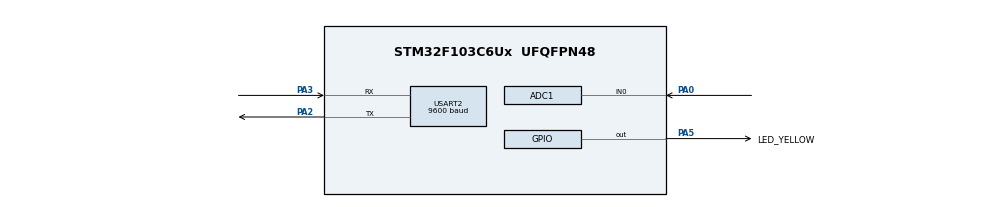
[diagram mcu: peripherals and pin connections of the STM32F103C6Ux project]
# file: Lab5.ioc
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ADC1.Channel-0\#ChannelRegularConversion=ADC_CHANNEL_0
ADC1.ContinuousConvMode=ENABLE
ADC1.NbrOfConversionFlag=1
ADC1.Rank-0\#ChannelRegularConversion=1
ADC1.SamplingTime-0\#ChannelRegularConversion=ADC_SAMPLETIME_1CYCLE_5
ADC1.master=1
Mcu.Family=STM32F1
Mcu.Name=STM32F103C6Ux
Mcu.Package=UFQFPN48
NVIC.PriorityGroup=NVIC_PRIORITYGROUP_4
NVIC.TIM2_IRQn=true\:0\:0\:false\:false\:true\:true\:true
NVIC.USART2_IRQn=true\:0\:0\:false\:false\:true\:true\:true
PA0-WKUP.Signal=ADCx_IN0
PA2.Mode=Asynchronous
PA2.Signal=USART2_TX
PA3.Mode=Asynchronous
PA3.Signal=USART2_RX
PA5.GPIO_Label=LED_YELLOW
PA5.Signal=GPIO_Output
ProjectManager.HeapSize=0x200
ProjectManager.StackSize=0x400
ProjectManager.TargetToolchain=STM32CubeIDE
RCC.APB1Freq_Value=8000000
RCC.APB2Freq_Value=8000000
SH.ADCx_IN0.0=ADC1_IN0,IN0
TIM2.Period=9
TIM2.Prescaler=7999
USART2.BaudRate=9600
USART2.VirtualMode=VM_ASYNC
VP_SYS_VS_ND.Mode=No_Debug
VP_TIM2_VS_ClockSourceINT.Mode=Internal
board=custom

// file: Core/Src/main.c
/* USER CODE BEGIN Header */
/**
  ******************************************************************************
  * @file           : main.c
  * @brief          : Main program body
  ******************************************************************************
  * @attention
  *
  * <h2><center>&copy; Copyright (c) 2026 STMicroelectronics.
  * All rights reserved.</center></h2>
  *
  * This software component is licensed by ST under BSD 3-Clause license,
  * the "License"; You may not use this file except in compliance with the
  * License. You may obtain a copy of the License at:
  *                        opensource.org/licenses/BSD-3-Clause
  *
  ******************************************************************************
  */
/* USER CODE END Header */
#include "main.h"

/* USER CODE BEGIN Includes */
#include "software_timer.h"
#include "command_parser.h"
#include "uart_communication.h"
/* USER CODE END Includes */

ADC_HandleTypeDef hadc1;

TIM_HandleTypeDef htim2;

UART_HandleTypeDef huart2;

void SystemClock_Config(void);
static void MX_GPIO_Init(void);
static void MX_ADC1_Init(void);
static void MX_TIM2_Init(void);
static void MX_USART2_UART_Init(void);

int main(void)
{

  /* MCU Configuration--------------------------------------------------------*/

  /* Reset of all peripherals, Initializes the Flash interface and the Systick. */
  HAL_Init();

  /* Configure the system clock */
  SystemClock_Config();

  /* Initialize all configured peripherals */
  MX_GPIO_Init();
  MX_ADC1_Init();
  MX_TIM2_Init();
  MX_USART2_UART_Init();
  /* USER CODE BEGIN 2 */
  HAL_TIM_Base_Start_IT(&htim2);
  HAL_UART_Receive_IT(&huart2, &temp, 1);
  setTimer(1, 500);
  /* USER CODE END 2 */

  /* Infinite loop */
  while (1)
  {

    /* USER CODE BEGIN 3 */
    // Moi 1 ms (nhanh hon 1 byte 9600 baud = 1.04 ms) kiem tra cuu byte RX neu ngat Proteus nghen
    {
        static uint32_t last_rx_tick = 0;
        uint32_t now = HAL_GetTick();
        if (now != last_rx_tick) {
            last_rx_tick = now;
            uart_rx_poll_rescue();
        }
    }
    if (buffer_flag == 1) {
        buffer_flag = 0;
        command_parser_fsm();
    }
    uart_communication_fsm(&hadc1, &huart2);

    if (isTimerExpired(1)) {
        HAL_GPIO_TogglePin(LED_YELLOW_GPIO_Port, LED_YELLOW_Pin);
        setTimer(1, 500);
    }
  }
  /* USER CODE END 3 */
}

void SystemClock_Config(void)
{
  RCC_OscInitTypeDef RCC_OscInitStruct = {0};
  RCC_ClkInitTypeDef RCC_ClkInitStruct = {0};
  RCC_PeriphCLKInitTypeDef PeriphClkInit = {0};

  /** Initializes the RCC Oscillators according to the specified parameters
  * in the RCC_OscInitTypeDef structure.
  */
  RCC_OscInitStruct.OscillatorType = RCC_OSCILLATORTYPE_HSI;
  RCC_OscInitStruct.HSIState = RCC_HSI_ON;
  RCC_OscInitStruct.HSICalibrationValue = RCC_HSICALIBRATION_DEFAULT;
  RCC_OscInitStruct.PLL.PLLState = RCC_PLL_NONE;
  if (HAL_RCC_OscConfig(&RCC_OscInitStruct) != HAL_OK)
  {
    Error_Handler();
  }
  /** Initializes the CPU, AHB and APB buses clocks
  */
  RCC_ClkInitStruct.ClockType = RCC_CLOCKTYPE_HCLK|RCC_CLOCKTYPE_SYSCLK
                              |RCC_CLOCKTYPE_PCLK1|RCC_CLOCKTYPE_PCLK2;
  RCC_ClkInitStruct.SYSCLKSource = RCC_SYSCLKSOURCE_HSI;
  RCC_ClkInitStruct.AHBCLKDivider = RCC_SYSCLK_DIV1;
  RCC_ClkInitStruct.APB1CLKDivider = RCC_HCLK_DIV1;
  RCC_ClkInitStruct.APB2CLKDivider = RCC_HCLK_DIV1;

  if (HAL_RCC_ClockConfig(&RCC_ClkInitStruct, FLASH_LATENCY_0) != HAL_OK)
  {
    Error_Handler();
  }
  PeriphClkInit.PeriphClockSelection = RCC_PERIPHCLK_ADC;
  PeriphClkInit.AdcClockSelection = RCC_ADCPCLK2_DIV2;
  if (HAL_RCCEx_PeriphCLKConfig(&PeriphClkInit) != HAL_OK)
  {
    Error_Handler();
  }
}

static void MX_ADC1_Init(void)
{

  ADC_ChannelConfTypeDef sConfig = {0};

  /** Common config
  */
  hadc1.Instance = ADC1;
  hadc1.Init.ScanConvMode = ADC_SCAN_DISABLE;
  hadc1.Init.ContinuousConvMode = ENABLE;
  hadc1.Init.DiscontinuousConvMode = DISABLE;
  hadc1.Init.ExternalTrigConv = ADC_SOFTWARE_START;
  hadc1.Init.DataAlign = ADC_DATAALIGN_RIGHT;
  hadc1.Init.NbrOfConversion = 1;
  if (HAL_ADC_Init(&hadc1) != HAL_OK)
  {
    Error_Handler();
  }
  /** Configure Regular Channel
  */
  sConfig.Channel = ADC_CHANNEL_0;
  sConfig.Rank = ADC_REGULAR_RANK_1;
  sConfig.SamplingTime = ADC_SAMPLETIME_1CYCLE_5;
  if (HAL_ADC_ConfigChannel(&hadc1, &sConfig) != HAL_OK)
  {
    Error_Handler();
  }

}

static void MX_TIM2_Init(void)
{

  TIM_ClockConfigTypeDef sClockSourceConfig = {0};
  TIM_MasterConfigTypeDef sMasterConfig = {0};

  htim2.Instance = TIM2;
  htim2.Init.Prescaler = 7999;
  htim2.Init.CounterMode = TIM_COUNTERMODE_UP;
  htim2.Init.Period = 9;
  htim2.Init.ClockDivision = TIM_CLOCKDIVISION_DIV1;
  htim2.Init.AutoReloadPreload = TIM_AUTORELOAD_PRELOAD_DISABLE;
  if (HAL_TIM_Base_Init(&htim2) != HAL_OK)
  {
    Error_Handler();
  }
  sClockSourceConfig.ClockSource = TIM_CLOCKSOURCE_INTERNAL;
  if (HAL_TIM_ConfigClockSource(&htim2, &sClockSourceConfig) != HAL_OK)
  {
    Error_Handler();
  }
  sMasterConfig.MasterOutputTrigger = TIM_TRGO_RESET;
  sMasterConfig.MasterSlaveMode = TIM_MASTERSLAVEMODE_DISABLE;
  if (HAL_TIMEx_MasterConfigSynchronization(&htim2, &sMasterConfig) != HAL_OK)
  {
    Error_Handler();
  }

}

static void MX_USART2_UART_Init(void)
{

  huart2.Instance = USART2;
  huart2.Init.BaudRate = 9600;
  huart2.Init.WordLength = UART_WORDLENGTH_8B;
  huart2.Init.StopBits = UART_STOPBITS_1;
  huart2.Init.Parity = UART_PARITY_NONE;
  huart2.Init.Mode = UART_MODE_TX_RX;
  huart2.Init.HwFlowCtl = UART_HWCONTROL_NONE;
  huart2.Init.OverSampling = UART_OVERSAMPLING_16;
  if (HAL_UART_Init(&huart2) != HAL_OK)
  {
    Error_Handler();
  }

}

static void MX_GPIO_Init(void)
{
  GPIO_InitTypeDef GPIO_InitStruct = {0};

  /* GPIO Ports Clock Enable */
  __HAL_RCC_GPIOA_CLK_ENABLE();

  /*Configure GPIO pin Output Level */
  HAL_GPIO_WritePin(LED_YELLOW_GPIO_Port, LED_YELLOW_Pin, GPIO_PIN_RESET);

  /*Configure GPIO pin : LED_YELLOW_Pin */
  GPIO_InitStruct.Pin = LED_YELLOW_Pin;
  GPIO_InitStruct.Mode = GPIO_MODE_OUTPUT_PP;
  GPIO_InitStruct.Pull = GPIO_NOPULL;
  GPIO_InitStruct.Speed = GPIO_SPEED_FREQ_LOW;
  HAL_GPIO_Init(LED_YELLOW_GPIO_Port, &GPIO_InitStruct);

}

/* USER CODE BEGIN 4 */
void uart_rx_poll_rescue(void) {
    uint32_t primask = __get_PRIMASK();
    __disable_irq();
    uint32_t sr = USART2->SR;
    if (sr & (USART_SR_RXNE | USART_SR_ORE | USART_SR_FE | USART_SR_NE | USART_SR_PE)) {
        uint8_t rx_byte = (uint8_t)(USART2->DR & 0xFFU);
        if (sr & USART_SR_RXNE) {
            buffer[index_buffer++] = rx_byte;
            if (index_buffer >= MAX_BUFFER_SIZE) {
                index_buffer = 0;
            }
            buffer_flag = 1;
        }
        huart2.RxState = HAL_UART_STATE_READY;
        HAL_UART_Receive_IT(&huart2, &temp, 1);
    } else if (huart2.RxState == HAL_UART_STATE_READY || (USART2->CR1 & USART_CR1_RXNEIE) == 0U) {
        huart2.RxState = HAL_UART_STATE_READY;
        HAL_UART_Receive_IT(&huart2, &temp, 1);
    }
    __set_PRIMASK(primask);
}

void HAL_UART_RxCpltCallback(UART_HandleTypeDef *huart) {
    if (huart->Instance == USART2) {
        buffer[index_buffer++] = temp;
        if (index_buffer >= MAX_BUFFER_SIZE) {
            index_buffer = 0;
        }
        buffer_flag = 1;
        HAL_UART_Receive_IT(&huart2, &temp, 1);
    }
}

void HAL_UART_ErrorCallback(UART_HandleTypeDef *huart) {
    if (huart->Instance == USART2) {
        uint32_t sr = huart->Instance->SR;
        if (sr & (USART_SR_ORE | USART_SR_FE | USART_SR_NE | USART_SR_PE)) {
            uint8_t rx_byte = (uint8_t)(huart->Instance->DR & 0xFFU);
            if (sr & USART_SR_RXNE) {
                buffer[index_buffer++] = rx_byte;
                if (index_buffer >= MAX_BUFFER_SIZE) {
                    index_buffer = 0;
                }
                buffer_flag = 1;
            }
        }
        huart->RxState = HAL_UART_STATE_READY;
        HAL_UART_Receive_IT(&huart2, &temp, 1);
    }
}

void HAL_TIM_PeriodElapsedCallback(TIM_HandleTypeDef *htim) {
    if (htim->Instance == TIM2) {
        timerRun();
    }
}
/* USER CODE END 4 */

void Error_Handler(void)
{
  __disable_irq();
  while (1)
  {
  }
}

/************************ (C) COPYRIGHT STMicroelectronics *****END OF FILE****/
